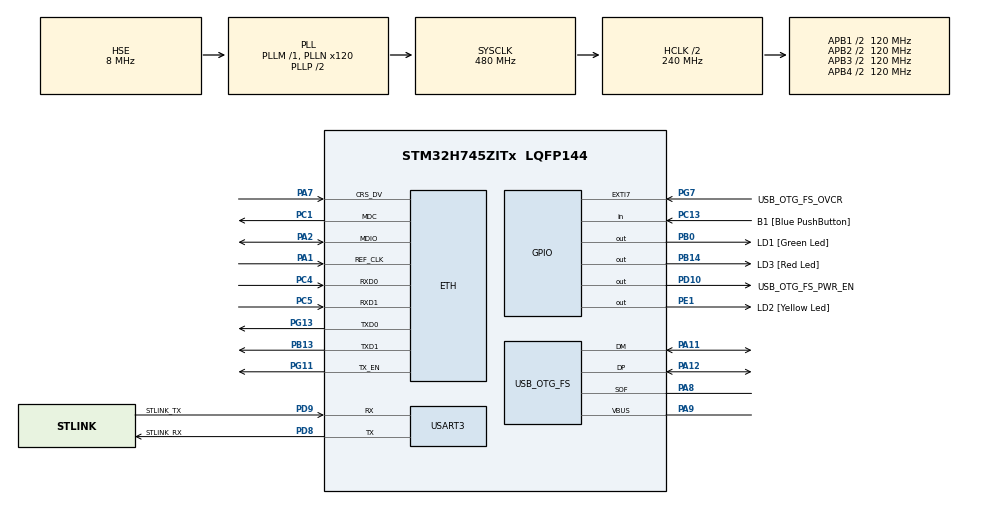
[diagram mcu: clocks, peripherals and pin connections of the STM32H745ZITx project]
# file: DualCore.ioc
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CortexM4.IPs=FATFS_M4\:I,FREERTOS_M4\:I,IWDG2\:I,RCC,WWDG2\:I,DMA,BDMA,MDMA,NVIC2\:I,USART3,ETH,DEBUG,USB_DEVICE_M4\:I,USB_HOST_M4\:I,PDM2PCM_M4\:I,PWR,RESMGR_UTILITY,SYS_M4\:I,CORTEX_M4\:I,OPENAMP_M4\:I,VREFBUF,GPIO
CortexM4.Pins=PC13,PE1
CortexM7.IPs=FATFS_M7\:I,FREERTOS_M7\:I,IWDG1\:I,RCC\:I,WWDG1\:I,DMA\:I,BDMA\:I,MDMA\:I,NVIC1\:I,SYS\:I,USART3\:I,USB_OTG_FS\:I,ETH\:I,CORTEX_M7\:I,DEBUG\:I,USB_DEVICE_M7\:I,USB_HOST_M7\:I,PDM2PCM_M7\:I,PWR\:I,RESMGR_UTILITY\:I,OPENAMP_M7\:I,VREFBUF\:I,GPIO\:I
CortexM7.Pins=PB0,PB14
ETH.MediaInterface=HAL_ETH_RMII_MODE
Mcu.Family=STM32H7
Mcu.Name=STM32H745ZITx
Mcu.Package=LQFP144
NVIC1.PriorityGroup=NVIC_PRIORITYGROUP_4
NVIC2.PriorityGroup=NVIC_PRIORITYGROUP_4
PA1.Mode=RMII
PA1.PinAttribute=CortexM7
PA1.Signal=ETH_REF_CLK
PA11.Mode=Device_Only
PA11.PinAttribute=CortexM7
PA11.Signal=USB_OTG_FS_DM
PA12.Mode=Device_Only
PA12.PinAttribute=CortexM7
PA12.Signal=USB_OTG_FS_DP
PA2.Mode=RMII
PA2.PinAttribute=CortexM7
PA2.Signal=ETH_MDIO
PA7.Mode=RMII
PA7.PinAttribute=CortexM7
PA7.Signal=ETH_CRS_DV
PA8.Mode=Activate_SOF_FS
PA8.PinAttribute=CortexM7
PA8.Signal=USB_OTG_FS_SOF
PA9.Mode=Activate_VBUS
PA9.PinAttribute=CortexM7
PA9.Signal=USB_OTG_FS_VBUS
PB0.GPIO_Label=LD1 [Green Led]
PB0.PinAttribute=CortexM7
PB0.Signal=GPIO_Output
PB13.Mode=RMII
PB13.PinAttribute=CortexM7
PB13.Signal=ETH_TXD1
PB14.GPIO_Label=LD3 [Red Led]
PB14.PinAttribute=CortexM7
PB14.Signal=GPIO_Output
PC1.Mode=RMII
PC1.PinAttribute=CortexM7
PC1.Signal=ETH_MDC
PC13.GPIO_Label=B1 [Blue PushButton]
PC13.PinAttribute=CortexM4
PC13.Signal=GPIO_Input
PC14-OSC32_IN\ (OSC32_IN).Mode=LSE-External-Oscillator
PC14-OSC32_IN\ (OSC32_IN).PinAttribute=CortexM7
PC14-OSC32_IN\ (OSC32_IN).Signal=RCC_OSC32_IN
PC15-OSC32_OUT\ (OSC32_OUT).Mode=LSE-External-Oscillator
PC15-OSC32_OUT\ (OSC32_OUT).PinAttribute=CortexM7
PC15-OSC32_OUT\ (OSC32_OUT).Signal=RCC_OSC32_OUT
PC4.Mode=RMII
PC4.PinAttribute=CortexM7
PC4.Signal=ETH_RXD0
PC5.Mode=RMII
PC5.PinAttribute=CortexM7
PC5.Signal=ETH_RXD1
PD10.GPIO_Label=USB_OTG_FS_PWR_EN
PD10.PinAttribute=Free
PD10.Signal=GPIO_Output
PD8.GPIO_Label=STLINK_RX
PD8.Mode=Asynchronous
PD8.PinAttribute=CortexM7
PD8.Signal=USART3_TX
PD9.GPIO_Label=STLINK_TX
PD9.Mode=Asynchronous
PD9.PinAttribute=CortexM7
PD9.Signal=USART3_RX
PE1.GPIO_Label=LD2 [Yellow Led]
PE1.PinAttribute=CortexM4
PE1.Signal=GPIO_Output
PG11.Mode=RMII
PG11.PinAttribute=CortexM7
PG11.Signal=ETH_TX_EN
PG13.Mode=RMII
PG13.PinAttribute=CortexM7
PG13.Signal=ETH_TXD0
PG7.GPIO_Label=USB_OTG_FS_OVCR
PG7.PinAttribute=Free
PG7.Signal=GPXTI7
PH0-OSC_IN\ (PH0).Mode=HSE-External-Clock-Source
PH0-OSC_IN\ (PH0).PinAttribute=CortexM7
PH0-OSC_IN\ (PH0).Signal=RCC_OSC_IN
PH1-OSC_OUT\ (PH1).PinAttribute=CortexM7
PH1-OSC_OUT\ (PH1).Signal=RCC_OSC_OUT
ProjectManager.HeapSize=M4-0x200,M7-0x200
ProjectManager.StackSize=M4-0x400,M7-0x400
ProjectManager.TargetToolchain=STM32CubeIDE
RCC.ADCFreq_Value=16125000
RCC.APB1Freq_Value=120000000
RCC.APB2Freq_Value=120000000
RCC.APB3Freq_Value=120000000
RCC.APB4Freq_Value=120000000
RCC.CortexFreq_Value=480000000
RCC.D1PPRE=RCC_APB3_DIV2
RCC.D2PPRE1=RCC_APB1_DIV2
RCC.D2PPRE2=RCC_APB2_DIV2
RCC.D3PPRE=RCC_APB4_DIV2
RCC.DIVM1=1
RCC.DIVM3=1
RCC.DIVN1=120
RCC.DIVN3=24
RCC.DIVQ3=4
RCC.HCLKFreq_Value=240000000
RCC.HPRE=RCC_HCLK_DIV2
RCC.HSE_VALUE=8000000
RCC.PLL2FRACN=0
RCC.PLL3FRACN=0
RCC.PLLFRACN=0
RCC.SYSCLKFreq_VALUE=480000000
RCC.SYSCLKSource=RCC_SYSCLKSOURCE_PLLCLK
RCC.SupplySource=PWR_DIRECT_SMPS_SUPPLY
RCC.USBCLockSelection=RCC_USBCLKSOURCE_PLL3
RCC.USBFreq_Value=48000000
USART3.VirtualMode-Asynchronous=VM_ASYNC
USB_OTG_FS.VirtualMode=Device_Only
VP_SYS_M4_VS_Systick.Mode=SysTick
board=NUCLEO-H745ZI-Q

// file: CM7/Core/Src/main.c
/* USER CODE BEGIN Header */
/**
  ******************************************************************************
  * @file           : main.c
  * @brief          : Main program body
  ******************************************************************************
  * @attention
  *
  * Copyright (c) 2022 STMicroelectronics.
  * All rights reserved.
  *
  * This software is licensed under terms that can be found in the LICENSE file
  * in the root directory of this software component.
  * If no LICENSE file comes with this software, it is provided AS-IS.
  *
  ******************************************************************************
  */
/* USER CODE END Header */
#include "main.h"
#include "string.h"

/* USER CODE BEGIN Includes */
#include "../../../Common/Src/SRAM4.h"
/* USER CODE END Includes */

/* USER CODE BEGIN PD */

#ifndef HSEM_ID_0
#define HSEM_ID_0 (0U) /* HW semaphore 0*/
#endif

/* USER CODE END PD */

#if defined ( __ICCARM__ ) /*!< IAR Compiler */
#pragma location=0x30000000
ETH_DMADescTypeDef  DMARxDscrTab[ETH_RX_DESC_CNT]; /* Ethernet Rx DMA Descriptors */
#pragma location=0x30000200
ETH_DMADescTypeDef  DMATxDscrTab[ETH_TX_DESC_CNT]; /* Ethernet Tx DMA Descriptors */

#elif defined ( __CC_ARM )  /* MDK ARM Compiler */

__attribute__((at(0x30000000))) ETH_DMADescTypeDef  DMARxDscrTab[ETH_RX_DESC_CNT]; /* Ethernet Rx DMA Descriptors */
__attribute__((at(0x30000200))) ETH_DMADescTypeDef  DMATxDscrTab[ETH_TX_DESC_CNT]; /* Ethernet Tx DMA Descriptors */

#elif defined ( __GNUC__ ) /* GNU Compiler */
ETH_DMADescTypeDef DMARxDscrTab[ETH_RX_DESC_CNT] __attribute__((section(".RxDecripSection"))); /* Ethernet Rx DMA Descriptors */
ETH_DMADescTypeDef DMATxDscrTab[ETH_TX_DESC_CNT] __attribute__((section(".TxDecripSection")));   /* Ethernet Tx DMA Descriptors */

#endif

ETH_TxPacketConfig TxConfig;

ETH_HandleTypeDef heth;

UART_HandleTypeDef huart3;

PCD_HandleTypeDef hpcd_USB_OTG_FS;

/* USER CODE BEGIN PV */
SharedMemory  *const*checkVal = &SRAM4;
/* USER CODE END PV */

void SystemClock_Config(void);
static void MX_GPIO_Init(void);
static void MX_ETH_Init(void);
static void MX_USART3_UART_Init(void);
static void MX_USB_OTG_FS_PCD_Init(void);

int main(void)
{
/* USER CODE BEGIN Boot_Mode_Sequence_0 */
  int32_t timeout;
/* USER CODE END Boot_Mode_Sequence_0 */

/* USER CODE BEGIN Boot_Mode_Sequence_1 */
  /* Wait until CPU2 boots and enters in stop mode or timeout*/
  timeout = 0xFFFF;
  while((__HAL_RCC_GET_FLAG(RCC_FLAG_D2CKRDY) != RESET) && (timeout-- > 0));
  if ( timeout < 0 )
  {
  Error_Handler();
  }
/* USER CODE END Boot_Mode_Sequence_1 */
  /* MCU Configuration--------------------------------------------------------*/

  /* Reset of all peripherals, Initializes the Flash interface and the Systick. */
  HAL_Init();

  /* Configure the system clock */
  SystemClock_Config();
/* USER CODE BEGIN Boot_Mode_Sequence_2 */
/* When system initialization is finished, Cortex-M7 will release Cortex-M4 by means of
HSEM notification */
/*HW semaphore Clock enable*/
__HAL_RCC_HSEM_CLK_ENABLE();
/*Take HSEM */
HAL_HSEM_FastTake(HSEM_ID_0);
/*Release HSEM in order to notify the CPU2(CM4)*/
HAL_HSEM_Release(HSEM_ID_0,0);
/* wait until CPU2 wakes up from stop mode */
timeout = 0xFFFF;
while((__HAL_RCC_GET_FLAG(RCC_FLAG_D2CKRDY) == RESET) && (timeout-- > 0));
if ( timeout < 0 )
{
Error_Handler();
}
/* USER CODE END Boot_Mode_Sequence_2 */

  /* Initialize all configured peripherals */
  MX_GPIO_Init();
  MX_ETH_Init();
  MX_USART3_UART_Init();
  MX_USB_OTG_FS_PCD_Init();
  /* USER CODE BEGIN 2 */
#ifdef TASK2_NO_HSEM
	  HAL_Delay(1000);
#endif
	  uint32_t timestamp;
	   timestamp = HAL_GetTick()+500;
  /* USER CODE END 2 */

  /* Infinite loop */
  /* USER CODE BEGIN WHILE */
  while (1)
  {

	  HAL_GPIO_WritePin(LD1_GPIO_Port, LD1_Pin, SRAM4->State1);

	  /*NO HSEM*/
#ifdef TASK2_NO_HSEM
	  register int i;
	  //find un-Sync Data
	  for(i=0;i<500;i++)
	  {
		  if(SRAM4->DATA[i]!=SRAM4->DATA[0])
		  {
//			  for(;;);
			  HAL_GPIO_TogglePin(LD1_GPIO_Port, LD1_Pin);
		  }
	  }
	  HAL_Delay(1); // sim Task
#endif

#ifdef TASK2_WITH_HSEM
		register int i;

		if (HAL_HSEM_Take(5, 5) == HAL_OK) {

			for (i = 0; i < 500; i++) {
				if (SRAM4->DATA[i] != SRAM4->DATA[0]) {
//					for (;;);
					  HAL_GPIO_TogglePin(LD1_GPIO_Port, LD1_Pin);
				}
			}
			HAL_HSEM_Release(5,5);
		}
		HAL_Delay(1); // sim Task
#endif

    /* USER CODE END WHILE */

    /* USER CODE BEGIN 3 */

	if(HAL_GetTick()>= timestamp)
	{
		timestamp+=500;
		HAL_GPIO_TogglePin(LD3_GPIO_Port, LD3_Pin);

	}

  }
  /* USER CODE END 3 */
}

void SystemClock_Config(void)
{
  RCC_OscInitTypeDef RCC_OscInitStruct = {0};
  RCC_ClkInitTypeDef RCC_ClkInitStruct = {0};

  /** Supply configuration update enable
  */
  HAL_PWREx_ConfigSupply(PWR_DIRECT_SMPS_SUPPLY);

  /** Configure the main internal regulator output voltage
  */
  __HAL_PWR_VOLTAGESCALING_CONFIG(PWR_REGULATOR_VOLTAGE_SCALE0);

  while(!__HAL_PWR_GET_FLAG(PWR_FLAG_VOSRDY)) {}

  /** Macro to configure the PLL clock source
  */
  __HAL_RCC_PLL_PLLSOURCE_CONFIG(RCC_PLLSOURCE_HSE);

  /** Initializes the RCC Oscillators according to the specified parameters
  * in the RCC_OscInitTypeDef structure.
  */
  RCC_OscInitStruct.OscillatorType = RCC_OSCILLATORTYPE_HSE;
  RCC_OscInitStruct.HSEState = RCC_HSE_BYPASS;
  RCC_OscInitStruct.PLL.PLLState = RCC_PLL_ON;
  RCC_OscInitStruct.PLL.PLLSource = RCC_PLLSOURCE_HSE;
  RCC_OscInitStruct.PLL.PLLM = 1;
  RCC_OscInitStruct.PLL.PLLN = 120;
  RCC_OscInitStruct.PLL.PLLP = 2;
  RCC_OscInitStruct.PLL.PLLQ = 2;
  RCC_OscInitStruct.PLL.PLLR = 2;
  RCC_OscInitStruct.PLL.PLLRGE = RCC_PLL1VCIRANGE_3;
  RCC_OscInitStruct.PLL.PLLVCOSEL = RCC_PLL1VCOWIDE;
  RCC_OscInitStruct.PLL.PLLFRACN = 0;
  if (HAL_RCC_OscConfig(&RCC_OscInitStruct) != HAL_OK)
  {
    Error_Handler();
  }

  /** Initializes the CPU, AHB and APB buses clocks
  */
  RCC_ClkInitStruct.ClockType = RCC_CLOCKTYPE_HCLK|RCC_CLOCKTYPE_SYSCLK
                              |RCC_CLOCKTYPE_PCLK1|RCC_CLOCKTYPE_PCLK2
                              |RCC_CLOCKTYPE_D3PCLK1|RCC_CLOCKTYPE_D1PCLK1;
  RCC_ClkInitStruct.SYSCLKSource = RCC_SYSCLKSOURCE_PLLCLK;
  RCC_ClkInitStruct.SYSCLKDivider = RCC_SYSCLK_DIV1;
  RCC_ClkInitStruct.AHBCLKDivider = RCC_HCLK_DIV2;
  RCC_ClkInitStruct.APB3CLKDivider = RCC_APB3_DIV2;
  RCC_ClkInitStruct.APB1CLKDivider = RCC_APB1_DIV2;
  RCC_ClkInitStruct.APB2CLKDivider = RCC_APB2_DIV2;
  RCC_ClkInitStruct.APB4CLKDivider = RCC_APB4_DIV2;

  if (HAL_RCC_ClockConfig(&RCC_ClkInitStruct, FLASH_LATENCY_4) != HAL_OK)
  {
    Error_Handler();
  }
}

static void MX_ETH_Init(void)
{

   static uint8_t MACAddr[6];

  heth.Instance = ETH;
  MACAddr[0] = 0x00;
  MACAddr[1] = 0x80;
  MACAddr[2] = 0xE1;
  MACAddr[3] = 0x00;
  MACAddr[4] = 0x00;
  MACAddr[5] = 0x00;
  heth.Init.MACAddr = &MACAddr[0];
  heth.Init.MediaInterface = HAL_ETH_RMII_MODE;
  heth.Init.TxDesc = DMATxDscrTab;
  heth.Init.RxDesc = DMARxDscrTab;
  heth.Init.RxBuffLen = 1524;

  if (HAL_ETH_Init(&heth) != HAL_OK)
  {
    Error_Handler();
  }

  memset(&TxConfig, 0 , sizeof(ETH_TxPacketConfig));
  TxConfig.Attributes = ETH_TX_PACKETS_FEATURES_CSUM | ETH_TX_PACKETS_FEATURES_CRCPAD;
  TxConfig.ChecksumCtrl = ETH_CHECKSUM_IPHDR_PAYLOAD_INSERT_PHDR_CALC;
  TxConfig.CRCPadCtrl = ETH_CRC_PAD_INSERT;

}

static void MX_USART3_UART_Init(void)
{

  huart3.Instance = USART3;
  huart3.Init.BaudRate = 115200;
  huart3.Init.WordLength = UART_WORDLENGTH_8B;
  huart3.Init.StopBits = UART_STOPBITS_1;
  huart3.Init.Parity = UART_PARITY_NONE;
  huart3.Init.Mode = UART_MODE_TX_RX;
  huart3.Init.HwFlowCtl = UART_HWCONTROL_NONE;
  huart3.Init.OverSampling = UART_OVERSAMPLING_16;
  huart3.Init.OneBitSampling = UART_ONE_BIT_SAMPLE_DISABLE;
  huart3.Init.ClockPrescaler = UART_PRESCALER_DIV1;
  huart3.AdvancedInit.AdvFeatureInit = UART_ADVFEATURE_NO_INIT;
  if (HAL_UART_Init(&huart3) != HAL_OK)
  {
    Error_Handler();
  }
  if (HAL_UARTEx_SetTxFifoThreshold(&huart3, UART_TXFIFO_THRESHOLD_1_8) != HAL_OK)
  {
    Error_Handler();
  }
  if (HAL_UARTEx_SetRxFifoThreshold(&huart3, UART_RXFIFO_THRESHOLD_1_8) != HAL_OK)
  {
    Error_Handler();
  }
  if (HAL_UARTEx_DisableFifoMode(&huart3) != HAL_OK)
  {
    Error_Handler();
  }

}

static void MX_USB_OTG_FS_PCD_Init(void)
{

  hpcd_USB_OTG_FS.Instance = USB_OTG_FS;
  hpcd_USB_OTG_FS.Init.dev_endpoints = 9;
  hpcd_USB_OTG_FS.Init.speed = PCD_SPEED_FULL;
  hpcd_USB_OTG_FS.Init.dma_enable = DISABLE;
  hpcd_USB_OTG_FS.Init.phy_itface = PCD_PHY_EMBEDDED;
  hpcd_USB_OTG_FS.Init.Sof_enable = DISABLE;
  hpcd_USB_OTG_FS.Init.low_power_enable = DISABLE;
  hpcd_USB_OTG_FS.Init.lpm_enable = DISABLE;
  hpcd_USB_OTG_FS.Init.battery_charging_enable = ENABLE;
  hpcd_USB_OTG_FS.Init.vbus_sensing_enable = ENABLE;
  hpcd_USB_OTG_FS.Init.use_dedicated_ep1 = DISABLE;
  if (HAL_PCD_Init(&hpcd_USB_OTG_FS) != HAL_OK)
  {
    Error_Handler();
  }

}

static void MX_GPIO_Init(void)
{
  GPIO_InitTypeDef GPIO_InitStruct = {0};

  /* GPIO Ports Clock Enable */
  __HAL_RCC_GPIOC_CLK_ENABLE();
  __HAL_RCC_GPIOH_CLK_ENABLE();
  __HAL_RCC_GPIOA_CLK_ENABLE();
  __HAL_RCC_GPIOB_CLK_ENABLE();
  __HAL_RCC_GPIOD_CLK_ENABLE();
  __HAL_RCC_GPIOG_CLK_ENABLE();

  /*Configure GPIO pin Output Level */
  HAL_GPIO_WritePin(GPIOB, LD1_Pin|LD3_Pin, GPIO_PIN_RESET);

  /*Configure GPIO pins : LD1_Pin LD3_Pin */
  GPIO_InitStruct.Pin = LD1_Pin|LD3_Pin;
  GPIO_InitStruct.Mode = GPIO_MODE_OUTPUT_PP;
  GPIO_InitStruct.Pull = GPIO_NOPULL;
  GPIO_InitStruct.Speed = GPIO_SPEED_FREQ_LOW;
  HAL_GPIO_Init(GPIOB, &GPIO_InitStruct);

}

void Error_Handler(void)
{
  __disable_irq();
  while (1)
  {
  }
}
